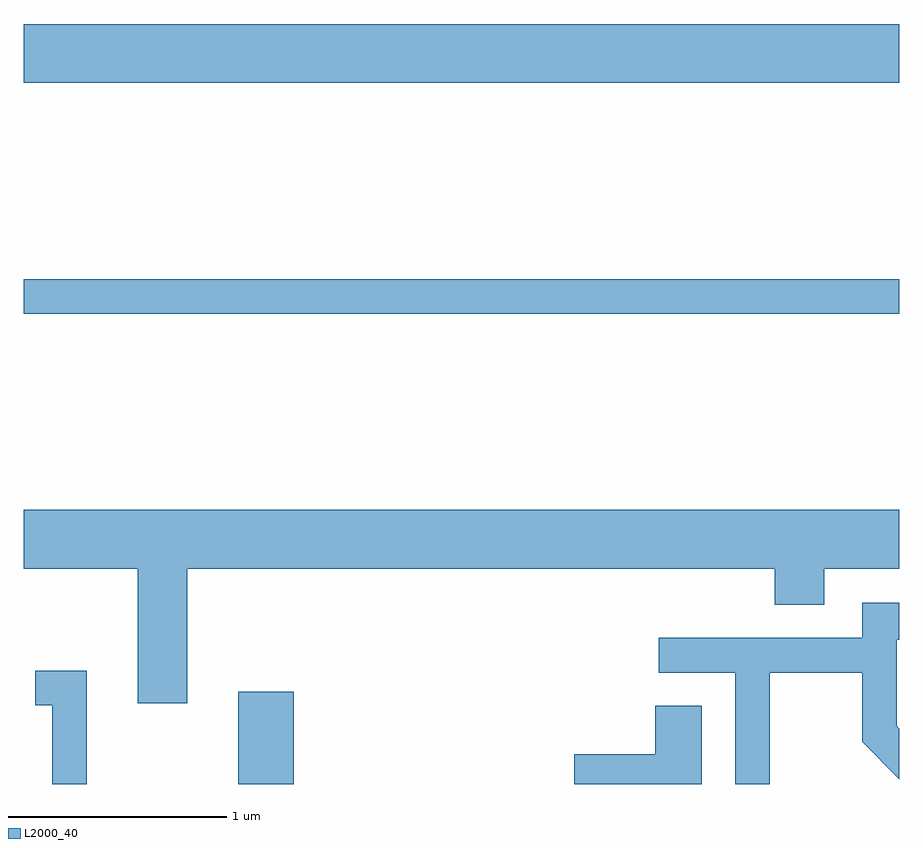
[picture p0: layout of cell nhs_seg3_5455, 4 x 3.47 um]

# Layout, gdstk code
import gdstk
lib = gdstk.Library(unit=1e-6, precision=1e-09)
def R(c, l, rs):  # rectangles x0, y0, x1, y1
    for r in rs: c.add(gdstk.rectangle(r[:2], r[2:], *l))
def P(c, l, *ps):  # polygons
    for p in ps: c.add(gdstk.Polygon(p, *l))
L2000_40 = (2000, 40)

nhs_seg3_5455 = lib.new_cell('nhs_seg3_5455')
R(nhs_seg3_5455, L2000_40, [(346.591,1153.892,346.844,1154.314), (345.611,1156.041,349.611,1156.199), (345.611,1157.096,349.611,1157.364)])
P(nhs_seg3_5455, L2000_40, [(346.359,1154.876),(349.041,1154.876),(349.041,1154.711),(349.269,1154.711),(349.269,1154.876),(349.611,1154.876),(349.611,1155.144),(345.611,1155.144),(345.611,1154.876),(346.131,1154.876),(346.131,1154.261),(346.359,1154.261)],
  [(349.019,1154.401),(349.441,1154.401),(349.441,1154.084),(349.611,1153.914),(349.611,1154.145),(349.599,1154.157),(349.599,1154.551),(349.611,1154.551),(349.611,1154.719),(349.441,1154.719),(349.441,1154.559),(348.513,1154.559),(348.513,1154.401),(348.861,1154.401),(348.861,1153.892),(349.019,1153.892)],
  [(345.899,1154.409),(345.663,1154.409),(345.663,1154.251),(345.741,1154.251),(345.741,1153.892),(345.899,1153.892)],
  [(348.709,1154.249),(348.496,1154.249),(348.496,1154.029),(348.126,1154.029),(348.126,1153.892),(348.709,1153.892)])

lib.write_gds('nhs_seg3_5455.gds')
